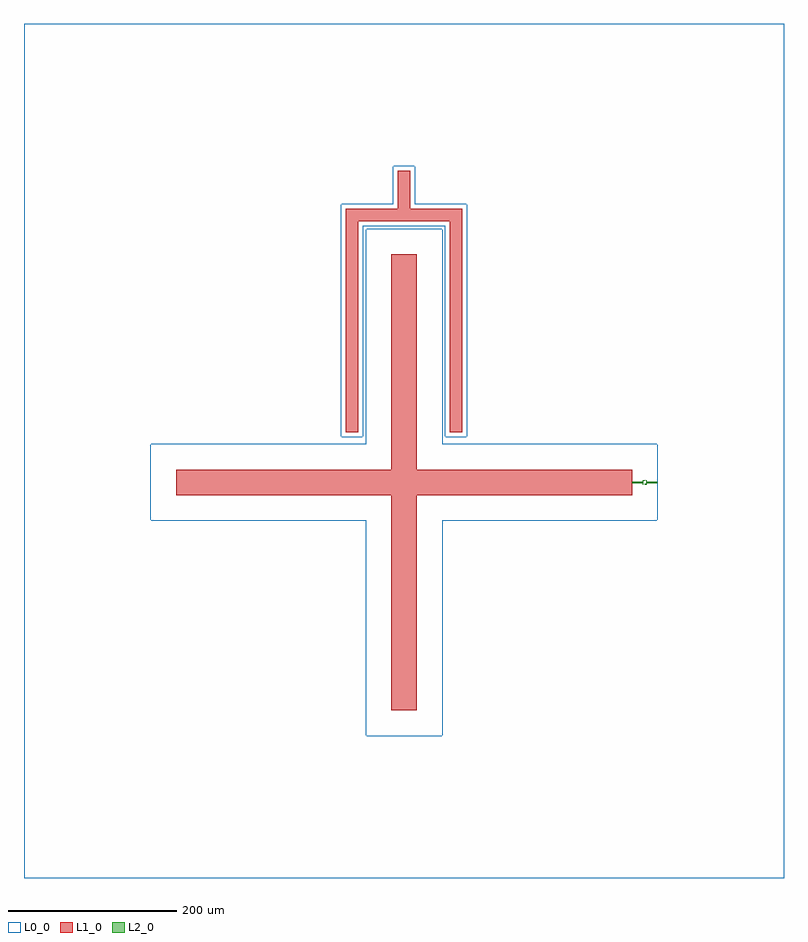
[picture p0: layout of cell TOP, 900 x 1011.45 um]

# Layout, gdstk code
import gdstk
lib = gdstk.Library(unit=1e-6, precision=1e-09)
def P(c, l, *ps):  # polygons
    for p in ps: c.add(gdstk.Polygon(p, *l))
L0_0 = (0, 0)
L1_0 = (1, 0)
L2_0 = (2, 0)

ground_main_1 = lib.new_cell('ground_main_1')

top_main_1 = lib.new_cell('TOP_main_1')
top_main_1.add(gdstk.Reference(ground_main_1, (0,0)))

top_main_2 = lib.new_cell('TOP_main_2')
P(top_main_2, L2_0, [(657.75,-1302.7),(657.75,-1301.5),(657.75,-1301.5),(657.75,-1301),(645,-1301),(645,-1299),(657.75,-1299),(657.75,-1299),(657.75,-1298.5),(657.75,-1298.5),(657.75,-1297.3),(658.05,-1297.3),(658.05,-1298.5),(658.05,-1298.5),(658.05,-1301.5),(658.05,-1301.5),(658.05,-1302.7)],
  [(660,-1302.7),(660,-1302.45),(658.25,-1302.45),(658.25,-1302.05),(660,-1302.05),(660,-1301.8),(661.75,-1301.8),(661.75,-1298.2),(660,-1298.2),(660,-1297.95),(658.25,-1297.95),(658.25,-1297.55),(660,-1297.55),(660,-1297.3),(661.75,-1297.3),(662.25,-1297.3),(662.25,-1299),(675,-1299),(675,-1299),(675,-1301),(662.25,-1301),(662.25,-1302.7),(661.75,-1302.7)])

top_main = lib.new_cell('TOP_main')
P(top_main, L2_0, [(657.75,-1302.7),(657.75,-1301.5),(657.75,-1301.5),(657.75,-1301),(645,-1301),(645,-1299),(657.75,-1299),(657.75,-1299),(657.75,-1298.5),(657.75,-1298.5),(657.75,-1297.3),(658.05,-1297.3),(658.05,-1298.5),(658.05,-1298.5),(658.05,-1301.5),(658.05,-1301.5),(658.05,-1302.7)],
  [(660,-1302.7),(660,-1302.45),(658.25,-1302.45),(658.25,-1302.05),(660,-1302.05),(660,-1301.8),(661.75,-1301.8),(661.75,-1298.2),(660,-1298.2),(660,-1297.95),(658.25,-1297.95),(658.25,-1297.55),(660,-1297.55),(660,-1297.3),(661.75,-1297.3),(662.25,-1297.3),(662.25,-1299),(675,-1299),(675,-1299),(675,-1301),(662.25,-1301),(662.25,-1302.7),(661.75,-1302.7)])
top_main.add(gdstk.Reference(top_main_1, (0,0)))
top_main.add(gdstk.Reference(top_main_2, (0,0)))

top = lib.new_cell('TOP')
P(top, L0_0, [(-75,-1768.575),(-75,-925.7),(362.4,-925.7),(362.4,-970.7),(300.7,-970.7),(300.7,-1245.9),(325.9,-1245.9),(325.9,-1000),(330,-1000),(330,-1255),(75,-1255),(75,-1345),(330,-1345),(330,-1600),(420,-1600),(420,-1345),(675,-1345),(675,-1255),(420,-1255),(420,-1000),(325.9,-1000),(325.9,-995.9),(424.1,-995.9),(424.1,-1245.9),(449.3,-1245.9),(449.3,-970.7),(387.6,-970.7),(387.6,-925.7),(-75,-925.7),(-75,-757.125),(825,-757.125),(825,-1768.575)])
P(top, L1_0, [(360,-1570),(360,-1315),(105,-1315),(105,-1285),(360,-1285),(360,-1030),(390,-1030),(390,-1285),(645,-1285),(645,-1315),(390,-1315),(390,-1570)],
  [(305.8,-1240.8),(305.8,-975.8),(367.5,-975.8),(367.5,-930.8),(382.5,-930.8),(382.5,-975.8),(444.2,-975.8),(444.2,-1240.8),(429.2,-1240.8),(429.2,-990.8),(320.8,-990.8),(320.8,-1240.8)])
P(top, L2_0, [(657.75,-1302.7),(657.75,-1301.5),(657.75,-1301.5),(657.75,-1301),(645,-1301),(645,-1299),(657.75,-1299),(657.75,-1299),(657.75,-1298.5),(657.75,-1298.5),(657.75,-1297.3),(658.05,-1297.3),(658.05,-1298.5),(658.05,-1298.5),(658.05,-1301.5),(658.05,-1301.5),(658.05,-1302.7)],
  [(660,-1302.7),(660,-1302.45),(658.25,-1302.45),(658.25,-1302.05),(660,-1302.05),(660,-1301.8),(661.75,-1301.8),(661.75,-1298.2),(660,-1298.2),(660,-1297.95),(658.25,-1297.95),(658.25,-1297.55),(660,-1297.55),(660,-1297.3),(661.75,-1297.3),(662.25,-1297.3),(662.25,-1299),(675,-1299),(675,-1299),(675,-1301),(662.25,-1301),(662.25,-1302.7),(661.75,-1302.7)])
top.add(gdstk.Reference(top_main, (0,0)))

lib.write_gds('TOP.gds')
